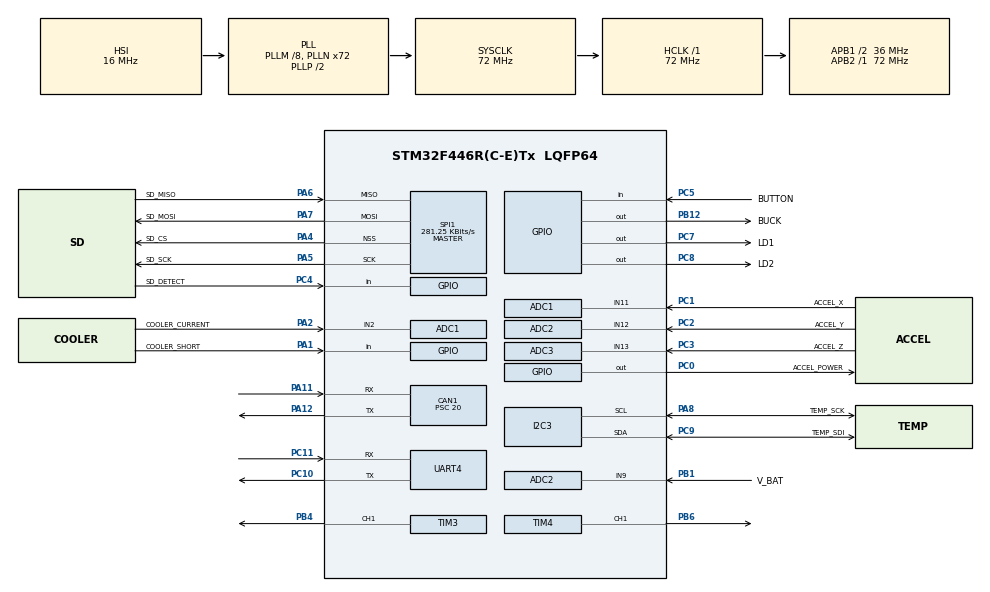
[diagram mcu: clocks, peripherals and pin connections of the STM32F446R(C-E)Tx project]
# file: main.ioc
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ADC1.Channel-0\#ChannelRegularConversion=ADC_CHANNEL_11
ADC1.Channel-2\#ChannelInjectedConversion=ADC_CHANNEL_2
ADC1.ClockPrescaler=ADC_CLOCK_SYNC_PCLK_DIV4
ADC1.ContinuousConvMode=DISABLE
ADC1.DMAContinuousRequests=ENABLE
ADC1.DiscontinuousConvMode=DISABLE
ADC1.ExternalTrigConv=ADC_EXTERNALTRIGCONV_T8_TRGO
ADC1.ExternalTrigConvEdge=ADC_EXTERNALTRIGCONVEDGE_RISINGFALLING
ADC1.ExternalTrigInjecConv=ADC_EXTERNALTRIGINJECCONV_T5_TRGO
ADC1.ExternalTrigInjecConvEdge=ADC_EXTERNALTRIGINJECCONVEDGE_RISINGFALLING
ADC1.InjNumberOfConversion=1
ADC1.InjectedConvMode=None
ADC1.InjectedOffset-2\#ChannelInjectedConversion=0
ADC1.InjectedRank-2\#ChannelInjectedConversion=1
ADC1.Mode=ADC_TRIPLEMODE_REGSIMULT_INJECSIMULT
ADC1.NbrOfConversion=1
ADC1.NbrOfConversionFlag=1
ADC1.Rank-0\#ChannelRegularConversion=1
ADC1.SamplingTime-0\#ChannelRegularConversion=ADC_SAMPLETIME_56CYCLES
ADC1.SamplingTime-2\#ChannelInjectedConversion=ADC_SAMPLETIME_56CYCLES
ADC1.ScanConvMode=DISABLE
ADC1.master=1
ADC2.Channel-0\#ChannelRegularConversion=ADC_CHANNEL_12
ADC2.Channel-2\#ChannelInjectedConversion=ADC_CHANNEL_9
ADC2.ClockPrescaler=ADC_CLOCK_SYNC_PCLK_DIV4
ADC2.ContinuousConvMode=DISABLE
ADC2.DMAAccessMode=ADC_DMAACCESSMODE_1
ADC2.DMAContinuousRequests=DISABLE
ADC2.DiscontinuousConvMode=DISABLE
ADC2.InjNumberOfConversion=1
ADC2.InjectedOffset-2\#ChannelInjectedConversion=0
ADC2.InjectedRank-2\#ChannelInjectedConversion=1
ADC2.Mode=ADC_TRIPLEMODE_REGSIMULT_INJECSIMULT
ADC2.NbrOfConversion=1
ADC2.NbrOfConversionFlag=1
ADC2.Rank-0\#ChannelRegularConversion=1
ADC2.SamplingTime-0\#ChannelRegularConversion=ADC_SAMPLETIME_56CYCLES
ADC2.SamplingTime-2\#ChannelInjectedConversion=ADC_SAMPLETIME_56CYCLES
ADC2.ScanConvMode=ENABLE
ADC3.Channel-0\#ChannelRegularConversion=ADC_CHANNEL_13
ADC3.ClockPrescaler=ADC_CLOCK_SYNC_PCLK_DIV4
ADC3.ContinuousConvMode=DISABLE
ADC3.DMAContinuousRequests=DISABLE
ADC3.InjNumberOfConversion=0
ADC3.Mode=ADC_TRIPLEMODE_REGSIMULT_INJECSIMULT
ADC3.NbrOfConversionFlag=1
ADC3.Rank-0\#ChannelRegularConversion=1
ADC3.SamplingTime-0\#ChannelRegularConversion=ADC_SAMPLETIME_56CYCLES
CAN1.BS1=CAN_BS1_9TQ
CAN1.BS2=CAN_BS2_8TQ
CAN1.CalculateBaudRate=100000
CAN1.CalculateTimeBit=10000
CAN1.CalculateTimeQuantum=555.5555555555555
CAN1.Mode=CAN_MODE_NORMAL
CAN1.Prescaler=20
Dma.ADC1.0.Direction=DMA_PERIPH_TO_MEMORY
Dma.ADC1.0.FIFOMode=DMA_FIFOMODE_DISABLE
Dma.ADC1.0.Instance=DMA2_Stream0
Dma.ADC1.0.MemDataAlignment=DMA_MDATAALIGN_HALFWORD
Dma.ADC1.0.MemInc=DMA_MINC_ENABLE
Dma.ADC1.0.Mode=DMA_CIRCULAR
Dma.ADC1.0.PeriphDataAlignment=DMA_PDATAALIGN_HALFWORD
Dma.ADC1.0.PeriphInc=DMA_PINC_DISABLE
Dma.ADC1.0.Priority=DMA_PRIORITY_LOW
Dma.Request0=ADC1
Mcu.Family=STM32F4
Mcu.Name=STM32F446R(C-E)Tx
Mcu.Package=LQFP64
NVIC.CAN1_RX0_IRQn=true\:0\:0\:false\:false\:true\:true\:true\:true
NVIC.DMA2_Stream0_IRQn=true\:0\:0\:false\:false\:true\:false\:true\:true
NVIC.PriorityGroup=NVIC_PRIORITYGROUP_0
NVIC.TIM1_BRK_TIM9_IRQn=true\:0\:0\:false\:false\:true\:true\:true\:true
NVIC.TIM2_IRQn=true\:0\:0\:false\:false\:true\:true\:true\:true
NVIC.TIM5_IRQn=true\:0\:0\:false\:false\:true\:true\:true\:true
NVIC.TIM8_BRK_TIM12_IRQn=true\:0\:0\:false\:false\:true\:true\:true\:true
PA1.GPIO_Label=COOLER_SHORT
PA1.Signal=GPIO_Input
PA11.Mode=CAN_Activate
PA11.Signal=CAN1_RX
PA12.Mode=CAN_Activate
PA12.Signal=CAN1_TX
PA13.GPIO_Label=SWD_IO
PA13.Mode=Serial_Wire
PA13.Signal=SYS_JTMS-SWDIO
PA14.GPIO_Label=SWD_CLK
PA14.Mode=Serial_Wire
PA14.Signal=SYS_JTCK-SWCLK
PA2.GPIO_Label=COOLER_CURRENT
PA2.Signal=ADCx_IN2
PA4.GPIO_Label=SD_CS
PA4.GPIO_PuPd=GPIO_PULLUP
PA4.Mode=NSS_Signal_Hard_Output
PA4.Signal=SPI1_NSS
PA5.GPIO_Label=SD_SCK
PA5.GPIO_PuPd=GPIO_PULLUP
PA5.Mode=Full_Duplex_Master
PA5.Signal=SPI1_SCK
PA6.GPIO_Label=SD_MISO
PA6.GPIO_PuPd=GPIO_PULLUP
PA6.Mode=Full_Duplex_Master
PA6.Signal=SPI1_MISO
PA7.GPIO_Label=SD_MOSI
PA7.GPIO_PuPd=GPIO_PULLUP
PA7.Mode=Full_Duplex_Master
PA7.Signal=SPI1_MOSI
PA8.GPIO_Label=TEMP_SCK
PA8.Mode=I2C
PA8.Signal=I2C3_SCL
PB1.GPIO_Label=V_BAT
PB1.Signal=ADCx_IN9
PB12.GPIO_Label=BUCK
PB12.Signal=GPIO_Output
PB3.GPIO_Label=SWD_O
PB3.Signal=SYS_JTDO-SWO
PB4.Signal=S_TIM3_CH1
PB6.Signal=S_TIM4_CH1
PC0.GPIO_Label=ACCEL_POWER
PC0.PinState=GPIO_PIN_RESET
PC0.Signal=GPIO_Output
PC1.GPIO_Label=ACCEL_X
PC1.Signal=ADCx_IN11
PC10.Mode=Asynchronous
PC10.Signal=UART4_TX
PC11.Mode=Asynchronous
PC11.Signal=UART4_RX
PC2.GPIO_Label=ACCEL_Y
PC2.Signal=ADCx_IN12
PC3.GPIO_Label=ACCEL_Z
PC3.Signal=ADCx_IN13
PC4.GPIO_Label=SD_DETECT
PC4.Signal=GPIO_Input
PC5.GPIO_Label=BUTTON
PC5.Signal=GPIO_Input
PC7.GPIO_Label=LD1
PC7.Signal=GPIO_Output
PC8.GPIO_Label=LD2
PC8.Signal=GPIO_Output
PC9.GPIO_Label=TEMP_SDI
PC9.Mode=I2C
PC9.Signal=I2C3_SDA
ProjectManager.HeapSize=0x200
ProjectManager.StackSize=0x400
ProjectManager.TargetToolchain=STM32CubeIDE
RCC.AHBFreq_Value=72000000
RCC.APB1CLKDivider=RCC_HCLK_DIV2
RCC.APB1Freq_Value=36000000
RCC.APB1TimFreq_Value=72000000
RCC.APB2Freq_Value=72000000
RCC.APB2TimFreq_Value=72000000
RCC.CortexFreq_Value=72000000
RCC.FLatency-AdvancedSettings=FLASH_LATENCY_2
RCC.HCLKFreq_Value=72000000
RCC.HSE_VALUE=8000000
RCC.HSI_VALUE=16000000
RCC.LSE_VALUE=32768
RCC.PLLM=8
RCC.PLLN=72
RCC.SYSCLKFreq_VALUE=72000000
RCC.SYSCLKSource=RCC_SYSCLKSOURCE_PLLCLK
RCC.USBFreq_Value=72000000
RCC.VCOOutputFreq_Value=144000000
SH.ADCx_IN11.0=ADC1_IN11,IN11
SH.ADCx_IN12.0=ADC2_IN12,IN12
SH.ADCx_IN13.0=ADC3_IN13,IN13
SH.ADCx_IN2.0=ADC1_IN2,IN2
SH.ADCx_IN9.0=ADC2_IN9,IN9
SH.S_TIM3_CH1.0=TIM3_CH1,PWM Generation1 CH1
SH.S_TIM4_CH1.0=TIM4_CH1,PWM Generation1 CH1
SPI1.BaudRatePrescaler=SPI_BAUDRATEPRESCALER_256
SPI1.CalculateBaudRate=281.25 KBits/s
SPI1.Direction=SPI_DIRECTION_2LINES
SPI1.Mode=SPI_MODE_MASTER
SPI1.VirtualNSS=VM_NSSHARD
SPI1.VirtualType=VM_MASTER
TIM12.Period=4000-1
TIM12.Prescaler=7200-1
TIM2.Period=10000-1
TIM2.Prescaler=7200-1
TIM3.Channel-PWM\ Generation1\ CH1=TIM_CHANNEL_1
TIM3.Period=1440
TIM3.Prescaler=4
TIM4.Channel-PWM\ Generation1\ CH1=TIM_CHANNEL_1
TIM4.Period=1440
TIM4.Prescaler=4
TIM5.Period=5000-1
TIM5.Prescaler=7200-1
TIM5.TIM_MasterOutputTrigger=TIM_TRGO_UPDATE
TIM8.Period=100-1
TIM8.Prescaler=72-1
TIM8.TIM_MasterOutputTrigger=TIM_TRGO_UPDATE
TIM9.Period=1000-1
TIM9.Prescaler=7200-1
UART4.VirtualMode=Asynchronous
VP_FATFS_VS_Generic.Mode=User_defined
VP_TIM12_VS_ClockSourceINT.Mode=Internal
VP_TIM2_VS_ClockSourceINT.Mode=Internal
VP_TIM5_VS_ClockSourceINT.Mode=Internal
VP_TIM8_VS_ClockSourceINT.Mode=Internal
VP_TIM9_VS_ClockSourceINT.Mode=Internal
board=NUCLEO-F446RE

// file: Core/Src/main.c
/* USER CODE BEGIN Header */
/**
 ******************************************************************************
 * @file           : main.c
 * @brief          : Main program body
 ******************************************************************************
 * @attention
 *
 * Copyright (c) 2024 STMicroelectronics.
 * All rights reserved.
 *
 * This software is licensed under terms that can be found in the LICENSE file
 * in the root directory of this software component.
 * If no LICENSE file comes with this software, it is provided AS-IS.
 *
 ******************************************************************************
 */
/* USER CODE END Header */
#include "main.h"
#include "fatfs.h"

/* USER CODE BEGIN Includes */
#include <math.h>
#include <stdbool.h>
#include <string.h>
#include "enabled.h"
#include "accelerometer.h"
#include "ADC.h"
#include "blink.h"
#include "BME280.h"
#include "CAN_bus.h"
#include "peltier.h"
#include "pid.h"
#include "SD_card.h"
#include "serial_monitor.h"
#include "temperature.h"
/* USER CODE END Includes */

/* USER CODE BEGIN PD */
// Timer purpose aliases
#define TIM_TEMPERATURE_SAMPLE htim2
#define TIM_PELTIER_REFERENCE htim3
#define TIM_PELTIER_PWM htim4
#define TIM_ADC_SAMPLE htim5
#define TIM_ACCELEROMETER_SAMPLE htim8
#define TIM_BLINK htim9
#define TIM_TELEMETRY htim12
// CAN conversion constants
#define TEMPERATURE_FACTOR 100           // Send temperature in centiCelsius to take advantage of the precision
#define BATTERY_VOLTAGE_SEND_MIN 10.0f   // Volts
#define BATTERY_VOLTAGE_SEND_MAX 21.0f   // Volts
#define BATTERY_VOLTAGE_SEND_FACTOR 256  // 2^8 is the maximum value for a uint8
#define VIBRATION_AMPLITUDE_FACTOR 10000 // Send amplitude in mV * 10 to take advantage of the precision
// PID constants
#define K_P 0.0f           // Proportional gain constant
#define K_I 0.0f           // Integral gain constant
#define K_D 0.0f           // Derivative gain constant
#define K_AW 0.0f          // Anti-windup gain constant
#define TIME_CONST 0.0f    // Time constant for derivative filtering
#define PID_MAX 1.0f       // Max command
#define PID_MIN 0.0f       // Min command
#define PID_MAX_DERIV 0.0f // Max rate of change of command
// Error handling constants
#define MINOR_ERRORS_MAX 128
#define MINOR_ERROR_BLINK_TIME 100 // milliseconds
// Other
#define PELTIER_START_CYCLE 0.0f
#define COOLING_STOP_VOLTAGE 13.9 // volts
#define TEMPERATURE_CONTROL_ENABLED (temperature_control_allowed && temperature_control_enabled)
/* USER CODE END PD */

/* USER CODE BEGIN PM */
#define BOOL_TO_ON(b) (b ? "on" : "off")
/* USER CODE END PM */

ADC_HandleTypeDef hadc1;
ADC_HandleTypeDef hadc2;
ADC_HandleTypeDef hadc3;
DMA_HandleTypeDef hdma_adc1;

CAN_HandleTypeDef hcan1;

I2C_HandleTypeDef hi2c3;

SPI_HandleTypeDef hspi1;

TIM_HandleTypeDef htim2;
TIM_HandleTypeDef htim3;
TIM_HandleTypeDef htim4;
TIM_HandleTypeDef htim5;
TIM_HandleTypeDef htim8;
TIM_HandleTypeDef htim9;
TIM_HandleTypeDef htim12;

UART_HandleTypeDef huart4;

/* USER CODE BEGIN PV */
/* PL peripheral driver handlers ---------------------------------------------*/
PL_Accelerometer_Handler accelerometer;
PL_ADC_Handler adc;
PL_Blink_Handler blink;
PL_CANBus_Handler can;
PL_Peltier_Handler peltier;
PL_SDCard_Handler sd_card;
// PID controller struct
struct PID pid;

// Accelerometer buffer which DMA will write to. Needs to be shared a bit, so declared in main.
volatile uint16_t accelerometer_buffer[ACCELEROMETER_SAMPLE_SIZE_TRIPLE];

/* Global telemetry variables ------------------------------------------------*/
// BME280 variables
float temperature, pressure, humidity;
// Error Handling variables
bool ok;
uint8_t minor_errors;
uint32_t minor_error_last_time;
// ADC variables
float battery_voltage, cooler_current;
// FFT variables
float peak_amp_x, peak_amp_y, peak_amp_z;
float peak_freq_x, peak_freq_y, peak_freq_z;

// Temperature control
float target_temperature;
bool temperature_control_allowed;
bool temperature_control_enabled;

// Flags for actions triggered by interrupts
volatile bool adc_new_sample_ready,
    BME280_sample_ready,
    blink_toggle_ready,
    minor_error_blink_toggle_ready,
    telemetry_report_ready;
volatile uint32_t accelerometer_sample_time;
/* USER CODE END PV */

void SystemClock_Config(void);
static void MX_GPIO_Init(void);
static void MX_DMA_Init(void);
static void MX_ADC1_Init(void);
static void MX_ADC2_Init(void);
static void MX_ADC3_Init(void);
static void MX_CAN1_Init(void);
static void MX_TIM3_Init(void);
static void MX_TIM4_Init(void);
static void MX_I2C3_Init(void);
static void MX_UART4_Init(void);
static void MX_TIM5_Init(void);
static void MX_TIM9_Init(void);
static void MX_SPI1_Init(void);
static void MX_TIM2_Init(void);
static void MX_TIM8_Init(void);
static void MX_TIM12_Init(void);
/* USER CODE BEGIN PFP */
/**
 * @brief Signals a critical error. Flags Payload as not ok, permanently turns on LD2.
 * Calls `Error_Handler` if not in final build.
 * @note Critical errors occur if peripheral initialization fails, or in other similar instances.
 * @param category The category in which the critical error occurred.
 * @param msg A description of the critical error.
 */
void Critical_Error(enum log_category category, const char *msg);
/**
 * @brief Signals a minor error. Briefly blinks LD2. Keeps track of number of minor errors,
 * and triggers `Critical_Error` if it exceeds `MINOR_ERRORS_MAX`.
 * @note Critical errors occur on single failures
 * (i.e. one failed CAN message send or one failed peripheral sample).
 * @param category The category in which the minor error occurred.
 * @param msg A description of the minor error.
 */
void Minor_Error(enum log_category category, const char *msg);
/* USER CODE END PFP */

int main(void)
{

  /* MCU Configuration--------------------------------------------------------*/

  /* Reset of all peripherals, Initializes the Flash interface and the Systick. */
  HAL_Init();

  /* Configure the system clock */
  SystemClock_Config();

  /* Initialize all configured peripherals */
  MX_GPIO_Init();
  MX_DMA_Init();
  MX_ADC1_Init();
  MX_ADC2_Init();
  MX_ADC3_Init();
  MX_CAN1_Init();
  MX_TIM3_Init();
  MX_TIM4_Init();
  MX_I2C3_Init();
  MX_UART4_Init();
  MX_TIM5_Init();
  MX_TIM9_Init();
  MX_SPI1_Init();
  MX_FATFS_Init();
  MX_TIM2_Init();
  MX_TIM8_Init();
  MX_TIM12_Init();
  /* USER CODE BEGIN 2 */
  PL_Log(LOG_GENERAL, LOG_NONE, LOG_INITIALIZING, "Initializing...");

  // Initialize error handling variables
  ok = 1;
  minor_errors = 0;
  minor_error_last_time = 0;
  minor_error_blink_toggle_ready = false;

  // Initialize temperature control variables
  target_temperature = TEMPERATURES[0]; // default to coldest temperature
  temperature_control_allowed = true;   // default to cooling being on
  temperature_control_enabled = true;

  // Initialize PID struct
  pid.Kp = K_P;
  pid.Ki = K_I;
  pid.Kd = K_D;
  pid.Kaw = K_AW;
  pid.T_C = TIME_CONST;
  pid.max = PID_MAX;
  pid.min = PID_MIN;
  pid.max_rate = PID_MAX_DERIV;

  // Initialize and start CAN bus
  PL_Log(LOG_CAN_BUS, LOG_NONE, LOG_INITIALIZING, "Starting...");
  if (!PL_CANBus_Init(&can, &hcan1))
  {
    Critical_Error(LOG_CAN_BUS, "Initialization failed.");
  }
  PL_Log(LOG_CAN_BUS, LOG_NONE, LOG_OK, "Started.");

  // Initialize BME280 temperature sensor
  PL_Log(LOG_TEMPERATURE_SENSOR, LOG_NONE, LOG_INITIALIZING, "Starting...");
  PL_Log(LOG_TEMPERATURE_SENSOR, LOG_NONE, LOG_INITIALIZING, "Configuring BME280...");
  if (BME280_Config(OSRS_2, OSRS_16, OSRS_1, MODE_NORMAL, T_SB_0p5, IIR_16) != 0)
  {
    Critical_Error(LOG_TEMPERATURE_SENSOR, "BME280 configuration failed.");
  }
  PL_Log(LOG_TEMPERATURE_SENSOR, LOG_NONE, LOG_INITIALIZING, "Starting sample timer...");
  // Start temperature sample timer
  if (HAL_TIM_Base_Start_IT(&TIM_TEMPERATURE_SAMPLE) != HAL_OK)
  {
    Critical_Error(LOG_TEMPERATURE_SENSOR, "Sample timer start failed.");
  }
  // Initialize BME280 sample as ready to sample first time through main loop
  BME280_sample_ready = true;
  PL_Log(LOG_TEMPERATURE_SENSOR, LOG_NONE, LOG_OK, "Started.");

  // Initialize Peltier cooler PWM output
  PL_Log(LOG_PELTIER, LOG_NONE, LOG_INITIALIZING, "Initializing PWM output...");
  if (!PL_Peltier_Init(&peltier, &TIM_PELTIER_PWM, &TIM_PELTIER_REFERENCE, TIM_CHANNEL_1, TIM_CHANNEL_1))
  {
    Critical_Error(LOG_PELTIER, "PWM initialization failed");
  }
  // Start duty cycle at zero
  PL_Peltier_SetCycle(&peltier, PELTIER_START_CYCLE);
  PL_Log(LOG_PELTIER, LOG_NONE, LOG_OK, "Started with %d%% duty cycle.", (int)(PELTIER_START_CYCLE * 100));

  // Initialize ADCs
  PL_Log(LOG_ADC, LOG_NONE, LOG_INITIALIZING, "Starting...");
  if (!PL_ADC_Init(&adc, &hadc1, &hadc2, &hadc3, &TIM_ADC_SAMPLE, accelerometer_buffer))
  {
    Critical_Error(LOG_ADC, "Initialization failed.");
  }
  PL_Log(LOG_ADC, LOG_NONE, LOG_OK, "Started.");

  // Initialize and start accelerometer
  PL_Log(LOG_ACCELEROMETER, LOG_NONE, LOG_INITIALIZING, "Starting...");
  // Initialize accelerometer handler
  PL_Log(LOG_ACCELEROMETER, LOG_NONE, LOG_INITIALIZING, "Initializing handler...");
  if (!PL_Accelerometer_Init(&accelerometer, &TIM_ACCELEROMETER_SAMPLE, ACCEL_POWER_GPIO_Port, ACCEL_POWER_Pin))
  {
    Critical_Error(LOG_ACCELEROMETER, "Initialization failed.");
  }
  PL_Log(LOG_ACCELEROMETER, LOG_NONE, LOG_INITIALIZING, "Powering on accelerometer and starting sampling...");
  // Start the accelerometer
  if (!PL_Accelerometer_Start(&accelerometer))
  {
    Critical_Error(LOG_ACCELEROMETER, "Accelerometer start failed.");
  }
  PL_Log(LOG_ACCELEROMETER, LOG_NONE, LOG_OK, "Started.");

  // Initialize SD card
  PL_Log(LOG_SD_CARD, LOG_NONE, LOG_INITIALIZING, "Starting...");
  // Initialize SD card handler and mount file system
  PL_Log(LOG_SD_CARD, LOG_NONE, LOG_INITIALIZING, "Initializing and mounting...");
  if (!PL_SDCard_Init(&sd_card))
  {
    Critical_Error(LOG_SD_CARD, "Initialization/mount failed.");
  }
  // Open next log file on SD card
  PL_Log(LOG_SD_CARD, LOG_NONE, LOG_INITIALIZING, "Opening next log file...");
  if (!PL_SDCard_Open(&sd_card))
  {
    Critical_Error(LOG_SD_CARD, "Opening log file failed.");
  }
  PL_Log(LOG_SD_CARD, LOG_NONE, LOG_OK, "Started.");

  // Start the telemetry report timer
  PL_Log(LOG_GENERAL, LOG_NONE, LOG_INITIALIZING, "Starting telemetry report timer.");
  if (HAL_TIM_Base_Start_IT(&TIM_TELEMETRY) != HAL_OK)
  {
    Critical_Error(LOG_GENERAL, "Telemetry report timer start failed.");
  }
  // Initialize telemetry report as ready to send telemetry data first time through main loop
  telemetry_report_ready = true;
  PL_Log(LOG_GENERAL, LOG_NONE, LOG_OK, "Telemetry report timer started.");

  // Initialize blink driver handler
  PL_Log(LOG_BLINK, LOG_NONE, LOG_INITIALIZING, "Starting...");
  PL_Blink_Init(&blink, &TIM_BLINK, LD1_GPIO_Port, LD1_Pin);
  // Start blinking routine
  if (!PL_Blink_Start(&blink))
  {
    Critical_Error(LOG_BLINK, "Start error");
  }
  // Initialize blink as ready to turn LED on first time through main loop
  blink_toggle_ready = true;
  PL_Log(LOG_BLINK, LOG_NONE, LOG_OK, "Started.");
  /* USER CODE END 2 */

  /* Infinite loop */
  /* USER CODE BEGIN WHILE */
  PL_Log(LOG_GENERAL, LOG_NONE, LOG_OK, "Beginning main loop.");
  while (1)
  {
    /* Gather data before communication functions --------------------------------*/
    if (adc_new_sample_ready)
    {
      // Calculate values from ADC reading
      battery_voltage = PL_ADC_GetBatteryVoltage(&adc);
      cooler_current = PL_ADC_GetCoolerCurrent(&adc);

      PL_Log(LOG_ADC, LOG_NONE, LOG_OK, "Battery Voltage: %7d mV | Cooler Current: %5d mA",
             (int)(1000 * battery_voltage),
             (int)(1000 * cooler_current));

      adc_new_sample_ready = false;

      if (PL_ADC_GetBatteryVoltage(&adc) < COOLING_STOP_VOLTAGE)
      {
        PL_Peltier_SetCycle(&peltier, 0.0f);
        temperature_control_allowed = false;
      }
      else
      {
        temperature_control_allowed = true;
      }
    }

    if (BME280_sample_ready)
    {
      BME280_Measure();
      PL_Log(LOG_TEMPERATURE_SENSOR, LOG_NONE, LOG_OK,
             "Temperature: %3d C | Pressure: %7d Pa | Humidity: %3d%%",
             (int)temperature,
             (int)pressure,
             (int)humidity);
      BME280_sample_ready = false;
    }

    // Step PID controller
    float peltier_cycle;
    if (TEMPERATURE_CONTROL_ENABLED)
    {
      // Calculate Peltier duty cycle using PID controller
      peltier_cycle = PID_step(&pid, temperature, target_temperature, HAL_GetTick());
      peltier_cycle = 1.0f;
    }
    else
    {
      peltier_cycle = 0.0f;
    }
    PL_Peltier_SetCycle(&peltier, peltier_cycle);
    PL_Log(LOG_PELTIER, LOG_NONE, LOG_OK,
           "Peltier duty cycle set to %d%%.",
           (int)(100 * peltier_cycle));

    /* Communicate with the outside world and other devices ----------------------*/
    if (accelerometer.analysis_ready)
    {
      // Write new accelerometer data to the SD card
      if (!PL_SDCard_WriteAccelerometer(&sd_card,
                                        accelerometer_sample_time,
                                        (uint16_t *)accelerometer.fft_buffer_x,
                                        (uint16_t *)accelerometer.fft_buffer_y,
                                        (uint16_t *)accelerometer.fft_buffer_z))
      {
        Minor_Error(LOG_SD_CARD, "Accelerometer packet write failed.");
      }
      else
      {
        PL_Log(LOG_SD_CARD, LOG_ACCELEROMETER, LOG_OK, "Wrote accelerometer packet.");
      }

      // Perform FFT analysis (stored in amplitude buffers)
      PL_Accelerometer_Analyze(&accelerometer);
      // Find peak amplitudes and frequencies on each axis
      peak_freq_x = PL_Accelerometer_PeakFrequency(accelerometer.amplitudes_x, &peak_amp_x);
      peak_freq_y = PL_Accelerometer_PeakFrequency(accelerometer.amplitudes_y, &peak_amp_y);
      peak_freq_z = PL_Accelerometer_PeakFrequency(accelerometer.amplitudes_z, &peak_amp_z);

      PL_Log(LOG_ACCELEROMETER, LOG_NONE, LOG_OK,
             "Peak Frequency X: %5d Hz | Peak Amplitude X: %5d mV",
             (int)peak_freq_x,
             (int)(1000 * peak_amp_x));
      PL_Log(LOG_ACCELEROMETER, LOG_NONE, LOG_OK,
             "Peak Frequency Y: %5d Hz | Peak Amplitude Y: %5d mV",
             (int)peak_freq_y,
             (int)(1000 * peak_amp_y));
      PL_Log(LOG_ACCELEROMETER, LOG_NONE, LOG_OK,
             "Peak Frequency Z: %5d Hz | Peak Amplitude Z: %5d mV",
             (int)peak_freq_z,
             (int)(1000 * peak_amp_z));
    }

    if (can.command_ready)
    {
      struct command com = PL_CANBus_ParseCommand(&can);
      switch (com.type)
      {
      case RESET_PAYLOAD:
        PL_Log(LOG_CAN_BUS, LOG_GENERAL, LOG_OK, "Payload reset.");
        // Reset STM32 via toggling buck reset
        HAL_GPIO_TogglePin(BUCK_GPIO_Port, BUCK_Pin);
        // Wait a short delay to ensure signal stabilizes
        HAL_Delay(10);
        // Toggle again to provide both rising and falling edges (we're not sure which one is necessary)
        HAL_GPIO_TogglePin(BUCK_GPIO_Port, BUCK_Pin);
        break;
      case TOGGLE_SAMPLING:
        // Call proper accelerometer function depending on toggle parameter, then check return type
        if (!(com.data.on
                  ? PL_Accelerometer_Start(&accelerometer)
                  : PL_Accelerometer_Stop(&accelerometer)))
        {
          // Format error message since `Minor_Error` isn't variadic
          char msg[64];
          snprintf(msg, sizeof(msg), "Switching accelerometer to %s failed.", BOOL_TO_ON(com.data.on));
          Minor_Error(LOG_CAN_BUS, msg);
        }
        else
        {
          PL_Log(LOG_CAN_BUS, LOG_ACCELEROMETER, LOG_OK,
                 "Accelerometer switched to %s.", BOOL_TO_ON(com.data.on));
        }
        break;
      case TOGGLE_COOLER:
        temperature_control_enabled = com.data.on;
        // Log command receipt
        PL_Log(LOG_CAN_BUS, LOG_PELTIER, LOG_OK,
               "Temperature control switched to %s.", BOOL_TO_ON(com.data.on));
        break;
      case TOGGLE_LAUNCH_MODE:
        // Launch mode doesn't do anything since we don't need it anymore
        PL_Log(LOG_CAN_BUS, LOG_GENERAL, LOG_OK, "Launch mode switched to %s.", BOOL_TO_ON(com.data.on));
        break;
      case LANDED:
        PL_Log(LOG_CAN_BUS, LOG_GENERAL, LOG_OK, "Landed.");
        if (!PL_Accelerometer_Stop(&accelerometer))
        {
          Minor_Error(LOG_ACCELEROMETER,
                      "Failed to shut down and stop sampling accelerometers on landing.");
        }
        else
        {
          PL_Log(LOG_ACCELEROMETER, LOG_CAN_BUS, LOG_OK,
                 "Powered off and stopped sampling accelerometers on landing.");
        }
        if (!PL_Blink_Stop(&blink))
        {
          Minor_Error(LOG_BLINK, "Failed to stop blinking on landing.");
        }
        else
        {
          PL_Log(LOG_BLINK, LOG_CAN_BUS, LOG_OK, "Stopped blinking on landing.");
        }
        break;
      case SET_TEMPERATURE:
        target_temperature = com.data.temp;
        PL_Log(LOG_CAN_BUS, LOG_TEMPERATURE_SENSOR | LOG_PELTIER, LOG_OK,
               "Target temperature set to %d.", (int)target_temperature);
        break;
      case NONE:
        PL_Log(LOG_CAN_BUS, LOG_NONE, LOG_WARNING, "No command received.");
        break;
      case INVALID:
        Minor_Error(LOG_CAN_BUS, "Invalid command received.");
        break;
      }
    }

    if (telemetry_report_ready)
    {
      if (!PL_SDCard_WriteTelemetry(&sd_card,
                                    HAL_GetTick(),
                                    ok,
                                    accelerometer.sampling,
                                    TEMPERATURE_CONTROL_ENABLED,
                                    target_temperature,
                                    temperature,
                                    pressure,
                                    humidity,
                                    battery_voltage))
      {
        Minor_Error(LOG_SD_CARD, "Telemetry packet write error.");
      }
      else
      {
        PL_Log(LOG_SD_CARD, LOG_NONE, LOG_OK, "Wrote telemetry packet.");
      }

      // Determine target temperature
      uint8_t target_temperature_index = 0;
      for (int i = 0; i < N_TEMPERATURES; i++)
      {
        if (target_temperature == TEMPERATURES[i])
        {
          target_temperature_index = i;
        }
      }
      // Send CAN message
      if (!PL_CANBus_Send(&can,
                          ok,
                          accelerometer.sampling,
                          TEMPERATURE_CONTROL_ENABLED,
                          target_temperature_index,
                          // Multiply temperature to take advantage of the precision
                          (int16_t)roundf(temperature * TEMPERATURE_FACTOR),
                          // Compress battery voltage into uint8 to take advantage of the precision
                          (uint8_t)roundf(
                              BATTERY_VOLTAGE_SEND_FACTOR *
                              (battery_voltage - BATTERY_VOLTAGE_SEND_MIN) /
                              (BATTERY_VOLTAGE_SEND_MAX - BATTERY_VOLTAGE_SEND_MIN)),
                          // Round to nearest Hz
                          (uint16_t)roundf(peak_freq_x),
                          (uint16_t)roundf(peak_freq_y),
                          (uint16_t)roundf(peak_freq_z),
                          // Multiply amplitudes to take advantage of the precision
                          (uint16_t)roundf(peak_amp_x * VIBRATION_AMPLITUDE_FACTOR),
                          (uint16_t)roundf(peak_amp_y * VIBRATION_AMPLITUDE_FACTOR),
                          (uint16_t)roundf(peak_amp_z * VIBRATION_AMPLITUDE_FACTOR),
                          HAL_GetTick()))
      {
        Minor_Error(LOG_CAN_BUS, "Failed to send set of three messages.");
      }
      else
      {
        PL_Log(LOG_CAN_BUS, LOG_NONE, LOG_OK, "Set of three messages sent.");
      }

      telemetry_report_ready = false;
    }

    if (blink_toggle_ready)
    {
      // Only log if the light was actually blinked
      if (PL_Blink_Toggle(&blink))
      {
        PL_Log(LOG_BLINK, LOG_NONE, LOG_OK, "Blinked.");
      }
      blink_toggle_ready = false;
    }

    if (minor_error_blink_toggle_ready && HAL_GetTick() - minor_error_last_time >= MINOR_ERROR_BLINK_TIME)
    {
      HAL_GPIO_WritePin(LD2_GPIO_Port, LD2_Pin, GPIO_PIN_RESET);
      minor_error_blink_toggle_ready = false; // Reset blink ready flag
    }
    /* USER CODE END WHILE */

  }
}

void SystemClock_Config(void)
{
  RCC_OscInitTypeDef RCC_OscInitStruct = {0};
  RCC_ClkInitTypeDef RCC_ClkInitStruct = {0};

  /** Configure the main internal regulator output voltage
   */
  __HAL_RCC_PWR_CLK_ENABLE();
  __HAL_PWR_VOLTAGESCALING_CONFIG(PWR_REGULATOR_VOLTAGE_SCALE3);

  /** Initializes the RCC Oscillators according to the specified parameters
   * in the RCC_OscInitTypeDef structure.
   */
  RCC_OscInitStruct.OscillatorType = RCC_OSCILLATORTYPE_HSI;
  RCC_OscInitStruct.HSIState = RCC_HSI_ON;
  RCC_OscInitStruct.HSICalibrationValue = RCC_HSICALIBRATION_DEFAULT;
  RCC_OscInitStruct.PLL.PLLState = RCC_PLL_ON;
  RCC_OscInitStruct.PLL.PLLSource = RCC_PLLSOURCE_HSI;
  RCC_OscInitStruct.PLL.PLLM = 8;
  RCC_OscInitStruct.PLL.PLLN = 72;
  RCC_OscInitStruct.PLL.PLLP = RCC_PLLP_DIV2;
  RCC_OscInitStruct.PLL.PLLQ = 2;
  RCC_OscInitStruct.PLL.PLLR = 2;
  if (HAL_RCC_OscConfig(&RCC_OscInitStruct) != HAL_OK)
  {
    Error_Handler();
  }

  /** Initializes the CPU, AHB and APB buses clocks
   */
  RCC_ClkInitStruct.ClockType = RCC_CLOCKTYPE_HCLK | RCC_CLOCKTYPE_SYSCLK | RCC_CLOCKTYPE_PCLK1 | RCC_CLOCKTYPE_PCLK2;
  RCC_ClkInitStruct.SYSCLKSource = RCC_SYSCLKSOURCE_PLLCLK;
  RCC_ClkInitStruct.AHBCLKDivider = RCC_SYSCLK_DIV1;
  RCC_ClkInitStruct.APB1CLKDivider = RCC_HCLK_DIV2;
  RCC_ClkInitStruct.APB2CLKDivider = RCC_HCLK_DIV1;

  if (HAL_RCC_ClockConfig(&RCC_ClkInitStruct, FLASH_LATENCY_2) != HAL_OK)
  {
    Error_Handler();
  }
}

static void MX_ADC1_Init(void)
{

  ADC_MultiModeTypeDef multimode = {0};
  ADC_ChannelConfTypeDef sConfig = {0};
  ADC_InjectionConfTypeDef sConfigInjected = {0};

  /** Configure the global features of the ADC (Clock, Resolution, Data Alignment and number of conversion)
   */
  hadc1.Instance = ADC1;
  hadc1.Init.ClockPrescaler = ADC_CLOCK_SYNC_PCLK_DIV4;
  hadc1.Init.Resolution = ADC_RESOLUTION_12B;
  hadc1.Init.ScanConvMode = DISABLE;
  hadc1.Init.ContinuousConvMode = DISABLE;
  hadc1.Init.DiscontinuousConvMode = DISABLE;
  hadc1.Init.ExternalTrigConvEdge = ADC_EXTERNALTRIGCONVEDGE_RISINGFALLING;
  hadc1.Init.ExternalTrigConv = ADC_EXTERNALTRIGCONV_T8_TRGO;
  hadc1.Init.DataAlign = ADC_DATAALIGN_RIGHT;
  hadc1.Init.NbrOfConversion = 1;
  hadc1.Init.DMAContinuousRequests = ENABLE;
  hadc1.Init.EOCSelection = ADC_EOC_SINGLE_CONV;
  if (HAL_ADC_Init(&hadc1) != HAL_OK)
  {
    Error_Handler();
  }

  /** Configure the ADC multi-mode
   */
  multimode.Mode = ADC_TRIPLEMODE_REGSIMULT_INJECSIMULT;
  multimode.DMAAccessMode = ADC_DMAACCESSMODE_1;
  multimode.TwoSamplingDelay = ADC_TWOSAMPLINGDELAY_5CYCLES;
  if (HAL_ADCEx_MultiModeConfigChannel(&hadc1, &multimode) != HAL_OK)
  {
    Error_Handler();
  }

  /** Configure for the selected ADC regular channel its corresponding rank in the sequencer and its sample time.
   */
  sConfig.Channel = ADC_CHANNEL_11;
  sConfig.Rank = 1;
  sConfig.SamplingTime = ADC_SAMPLETIME_56CYCLES;
  if (HAL_ADC_ConfigChannel(&hadc1, &sConfig) != HAL_OK)
  {
    Error_Handler();
  }

  /** Configures for the selected ADC injected channel its corresponding rank in the sequencer and its sample time
   */
  sConfigInjected.InjectedChannel = ADC_CHANNEL_2;
  sConfigInjected.InjectedRank = 1;
  sConfigInjected.InjectedNbrOfConversion = 1;
  sConfigInjected.InjectedSamplingTime = ADC_SAMPLETIME_56CYCLES;
  sConfigInjected.ExternalTrigInjecConvEdge = ADC_EXTERNALTRIGINJECCONVEDGE_RISINGFALLING;
  sConfigInjected.ExternalTrigInjecConv = ADC_EXTERNALTRIGINJECCONV_T5_TRGO;
  sConfigInjected.AutoInjectedConv = DISABLE;
  sConfigInjected.InjectedDiscontinuousConvMode = DISABLE;
  sConfigInjected.InjectedOffset = 0;
  if (HAL_ADCEx_InjectedConfigChannel(&hadc1, &sConfigInjected) != HAL_OK)
  {
    Error_Handler();
  }
}

static void MX_ADC2_Init(void)
{

  ADC_ChannelConfTypeDef sConfig = {0};
  ADC_InjectionConfTypeDef sConfigInjected = {0};

  /** Configure the global features of the ADC (Clock, Resolution, Data Alignment and number of conversion)
   */
  hadc2.Instance = ADC2;
  hadc2.Init.ClockPrescaler = ADC_CLOCK_SYNC_PCLK_DIV4;
  hadc2.Init.Resolution = ADC_RESOLUTION_12B;
  hadc2.Init.ScanConvMode = ENABLE;
  hadc2.Init.ContinuousConvMode = DISABLE;
  hadc2.Init.DiscontinuousConvMode = DISABLE;
  hadc2.Init.DataAlign = ADC_DATAALIGN_RIGHT;
  hadc2.Init.NbrOfConversion = 1;
  hadc2.Init.DMAContinuousRequests = DISABLE;
  hadc2.Init.EOCSelection = ADC_EOC_SINGLE_CONV;
  if (HAL_ADC_Init(&hadc2) != HAL_OK)
  {
    Error_Handler();
  }

  /** Configure for the selected ADC regular channel its corresponding rank in the sequencer and its sample time.
   */
  sConfig.Channel = ADC_CHANNEL_12;
  sConfig.Rank = 1;
  sConfig.SamplingTime = ADC_SAMPLETIME_56CYCLES;
  if (HAL_ADC_ConfigChannel(&hadc2, &sConfig) != HAL_OK)
  {
    Error_Handler();
  }

  /** Configures for the selected ADC injected channel its corresponding rank in the sequencer and its sample time
   */
  sConfigInjected.InjectedChannel = ADC_CHANNEL_9;
  sConfigInjected.InjectedRank = 1;
  sConfigInjected.InjectedNbrOfConversion = 1;
  sConfigInjected.InjectedSamplingTime = ADC_SAMPLETIME_56CYCLES;
  sConfigInjected.AutoInjectedConv = ENABLE;
  sConfigInjected.InjectedDiscontinuousConvMode = DISABLE;
  sConfigInjected.InjectedOffset = 0;
  if (HAL_ADCEx_InjectedConfigChannel(&hadc2, &sConfigInjected) != HAL_OK)
  {
    Error_Handler();
  }
}

static void MX_ADC3_Init(void)
{

  ADC_ChannelConfTypeDef sConfig = {0};

  /** Configure the global features of the ADC (Clock, Resolution, Data Alignment and number of conversion)
   */
  hadc3.Instance = ADC3;
  hadc3.Init.ClockPrescaler = ADC_CLOCK_SYNC_PCLK_DIV4;
  hadc3.Init.Resolution = ADC_RESOLUTION_12B;
  hadc3.Init.ScanConvMode = DISABLE;
  hadc3.Init.ContinuousConvMode = DISABLE;
  hadc3.Init.DiscontinuousConvMode = DISABLE;
  hadc3.Init.DataAlign = ADC_DATAALIGN_RIGHT;
  hadc3.Init.NbrOfConversion = 1;
  hadc3.Init.DMAContinuousRequests = DISABLE;
  hadc3.Init.EOCSelection = ADC_EOC_SINGLE_CONV;
  if (HAL_ADC_Init(&hadc3) != HAL_OK)
  {
    Error_Handler();
  }

  /** Configure for the selected ADC regular channel its corresponding rank in the sequencer and its sample time.
   */
  sConfig.Channel = ADC_CHANNEL_13;
  sConfig.Rank = 1;
  sConfig.SamplingTime = ADC_SAMPLETIME_56CYCLES;
  if (HAL_ADC_ConfigChannel(&hadc3, &sConfig) != HAL_OK)
  {
    Error_Handler();
  }
}

static void MX_CAN1_Init(void)
{

  hcan1.Instance = CAN1;
  hcan1.Init.Prescaler = 20;
  hcan1.Init.Mode = CAN_MODE_NORMAL;
  hcan1.Init.SyncJumpWidth = CAN_SJW_1TQ;
  hcan1.Init.TimeSeg1 = CAN_BS1_9TQ;
  hcan1.Init.TimeSeg2 = CAN_BS2_8TQ;
  hcan1.Init.TimeTriggeredMode = DISABLE;
  hcan1.Init.AutoBusOff = DISABLE;
  hcan1.Init.AutoWakeUp = DISABLE;
  hcan1.Init.AutoRetransmission = DISABLE;
  hcan1.Init.ReceiveFifoLocked = DISABLE;
  hcan1.Init.TransmitFifoPriority = DISABLE;
  if (HAL_CAN_Init(&hcan1) != HAL_OK)
  {
    Error_Handler();
  }
}

static void MX_I2C3_Init(void)
{

  hi2c3.Instance = I2C3;
  hi2c3.Init.ClockSpeed = 100000;
  hi2c3.Init.DutyCycle = I2C_DUTYCYCLE_2;
  hi2c3.Init.OwnAddress1 = 0;
  hi2c3.Init.AddressingMode = I2C_ADDRESSINGMODE_7BIT;
  hi2c3.Init.DualAddressMode = I2C_DUALADDRESS_DISABLE;
  hi2c3.Init.OwnAddress2 = 0;
  hi2c3.Init.GeneralCallMode = I2C_GENERALCALL_DISABLE;
  hi2c3.Init.NoStretchMode = I2C_NOSTRETCH_DISABLE;
  if (HAL_I2C_Init(&hi2c3) != HAL_OK)
  {
    Error_Handler();
  }
}

static void MX_SPI1_Init(void)
{

  /* SPI1 parameter configuration*/
  hspi1.Instance = SPI1;
  hspi1.Init.Mode = SPI_MODE_MASTER;
  hspi1.Init.Direction = SPI_DIRECTION_2LINES;
  hspi1.Init.DataSize = SPI_DATASIZE_8BIT;
  hspi1.Init.CLKPolarity = SPI_POLARITY_LOW;
  hspi1.Init.CLKPhase = SPI_PHASE_1EDGE;
  hspi1.Init.NSS = SPI_NSS_HARD_OUTPUT;
  hspi1.Init.BaudRatePrescaler = SPI_BAUDRATEPRESCALER_256;
  hspi1.Init.FirstBit = SPI_FIRSTBIT_MSB;
  hspi1.Init.TIMode = SPI_TIMODE_DISABLE;
  hspi1.Init.CRCCalculation = SPI_CRCCALCULATION_DISABLE;
  hspi1.Init.CRCPolynomial = 10;
  if (HAL_SPI_Init(&hspi1) != HAL_OK)
  {
    Error_Handler();
  }
}

static void MX_TIM2_Init(void)
{

  TIM_ClockConfigTypeDef sClockSourceConfig = {0};
  TIM_MasterConfigTypeDef sMasterConfig = {0};

  htim2.Instance = TIM2;
  htim2.Init.Prescaler = 7200 - 1;
  htim2.Init.CounterMode = TIM_COUNTERMODE_UP;
  htim2.Init.Period = 10000 - 1;
  htim2.Init.ClockDivision = TIM_CLOCKDIVISION_DIV1;
  htim2.Init.AutoReloadPreload = TIM_AUTORELOAD_PRELOAD_DISABLE;
  if (HAL_TIM_Base_Init(&htim2) != HAL_OK)
  {
    Error_Handler();
  }
  sClockSourceConfig.ClockSource = TIM_CLOCKSOURCE_INTERNAL;
  if (HAL_TIM_ConfigClockSource(&htim2, &sClockSourceConfig) != HAL_OK)
  {
    Error_Handler();
  }
  sMasterConfig.MasterOutputTrigger = TIM_TRGO_RESET;
  sMasterConfig.MasterSlaveMode = TIM_MASTERSLAVEMODE_DISABLE;
  if (HAL_TIMEx_MasterConfigSynchronization(&htim2, &sMasterConfig) != HAL_OK)
  {
    Error_Handler();
  }
}

static void MX_TIM3_Init(void)
{

  TIM_MasterConfigTypeDef sMasterConfig = {0};
  TIM_OC_InitTypeDef sConfigOC = {0};

  htim3.Instance = TIM3;
  htim3.Init.Prescaler = 4;
  htim3.Init.CounterMode = TIM_COUNTERMODE_UP;
  htim3.Init.Period = 1440;
  htim3.Init.ClockDivision = TIM_CLOCKDIVISION_DIV1;
  htim3.Init.AutoReloadPreload = TIM_AUTORELOAD_PRELOAD_DISABLE;
  if (HAL_TIM_PWM_Init(&htim3) != HAL_OK)
  {
    Error_Handler();
  }
  sMasterConfig.MasterOutputTrigger = TIM_TRGO_RESET;
  sMasterConfig.MasterSlaveMode = TIM_MASTERSLAVEMODE_DISABLE;
  if (HAL_TIMEx_MasterConfigSynchronization(&htim3, &sMasterConfig) != HAL_OK)
  {
    Error_Handler();
  }
  sConfigOC.OCMode = TIM_OCMODE_PWM1;
  sConfigOC.Pulse = 0;
  sConfigOC.OCPolarity = TIM_OCPOLARITY_HIGH;
  sConfigOC.OCFastMode = TIM_OCFAST_DISABLE;
  if (HAL_TIM_PWM_ConfigChannel(&htim3, &sConfigOC, TIM_CHANNEL_1) != HAL_OK)
  {
    Error_Handler();
  }
  HAL_TIM_MspPostInit(&htim3);
}

static void MX_TIM4_Init(void)
{

  TIM_MasterConfigTypeDef sMasterConfig = {0};
  TIM_OC_InitTypeDef sConfigOC = {0};

  htim4.Instance = TIM4;
  htim4.Init.Prescaler = 4;
  htim4.Init.CounterMode = TIM_COUNTERMODE_UP;
  htim4.Init.Period = 1440;
  htim4.Init.ClockDivision = TIM_CLOCKDIVISION_DIV1;
  htim4.Init.AutoReloadPreload = TIM_AUTORELOAD_PRELOAD_DISABLE;
  if (HAL_TIM_PWM_Init(&htim4) != HAL_OK)
  {
    Error_Handler();
  }
  sMasterConfig.MasterOutputTrigger = TIM_TRGO_RESET;
  sMasterConfig.MasterSlaveMode = TIM_MASTERSLAVEMODE_DISABLE;
  if (HAL_TIMEx_MasterConfigSynchronization(&htim4, &sMasterConfig) != HAL_OK)
  {
    Error_Handler();
  }
  sConfigOC.OCMode = TIM_OCMODE_PWM1;
  sConfigOC.Pulse = 0;
  sConfigOC.OCPolarity = TIM_OCPOLARITY_HIGH;
  sConfigOC.OCFastMode = TIM_OCFAST_DISABLE;
  if (HAL_TIM_PWM_ConfigChannel(&htim4, &sConfigOC, TIM_CHANNEL_1) != HAL_OK)
  {
    Error_Handler();
  }
  HAL_TIM_MspPostInit(&htim4);
}

static void MX_TIM5_Init(void)
{

  TIM_ClockConfigTypeDef sClockSourceConfig = {0};
  TIM_MasterConfigTypeDef sMasterConfig = {0};

  htim5.Instance = TIM5;
  htim5.Init.Prescaler = 7200 - 1;
  htim5.Init.CounterMode = TIM_COUNTERMODE_UP;
  htim5.Init.Period = 5000 - 1;
  htim5.Init.ClockDivision = TIM_CLOCKDIVISION_DIV1;
  htim5.Init.AutoReloadPreload = TIM_AUTORELOAD_PRELOAD_DISABLE;
  if (HAL_TIM_Base_Init(&htim5) != HAL_OK)
  {
    Error_Handler();
  }
  sClockSourceConfig.ClockSource = TIM_CLOCKSOURCE_INTERNAL;
  if (HAL_TIM_ConfigClockSource(&htim5, &sClockSourceConfig) != HAL_OK)
  {
    Error_Handler();
  }
  sMasterConfig.MasterOutputTrigger = TIM_TRGO_UPDATE;
  sMasterConfig.MasterSlaveMode = TIM_MASTERSLAVEMODE_DISABLE;
  if (HAL_TIMEx_MasterConfigSynchronization(&htim5, &sMasterConfig) != HAL_OK)
  {
    Error_Handler();
  }
}

static void MX_TIM8_Init(void)
{

  TIM_ClockConfigTypeDef sClockSourceConfig = {0};
  TIM_MasterConfigTypeDef sMasterConfig = {0};

  htim8.Instance = TIM8;
  htim8.Init.Prescaler = 72 - 1;
  htim8.Init.CounterMode = TIM_COUNTERMODE_UP;
  htim8.Init.Period = 100 - 1;
  htim8.Init.ClockDivision = TIM_CLOCKDIVISION_DIV1;
  htim8.Init.RepetitionCounter = 0;
  htim8.Init.AutoReloadPreload = TIM_AUTORELOAD_PRELOAD_DISABLE;
  if (HAL_TIM_Base_Init(&htim8) != HAL_OK)
  {
    Error_Handler();
  }
  sClockSourceConfig.ClockSource = TIM_CLOCKSOURCE_INTERNAL;
  if (HAL_TIM_ConfigClockSource(&htim8, &sClockSourceConfig) != HAL_OK)
  {
    Error_Handler();
  }
  sMasterConfig.MasterOutputTrigger = TIM_TRGO_UPDATE;
  sMasterConfig.MasterSlaveMode = TIM_MASTERSLAVEMODE_DISABLE;
  if (HAL_TIMEx_MasterConfigSynchronization(&htim8, &sMasterConfig) != HAL_OK)
  {
    Error_Handler();
  }
}

static void MX_TIM9_Init(void)
{

  TIM_ClockConfigTypeDef sClockSourceConfig = {0};

  htim9.Instance = TIM9;
  htim9.Init.Prescaler = 7200 - 1;
  htim9.Init.CounterMode = TIM_COUNTERMODE_UP;
  htim9.Init.Period = 1000 - 1;
  htim9.Init.ClockDivision = TIM_CLOCKDIVISION_DIV1;
  htim9.Init.AutoReloadPreload = TIM_AUTORELOAD_PRELOAD_DISABLE;
  if (HAL_TIM_Base_Init(&htim9) != HAL_OK)
  {
    Error_Handler();
  }
  sClockSourceConfig.ClockSource = TIM_CLOCKSOURCE_INTERNAL;
  if (HAL_TIM_ConfigClockSource(&htim9, &sClockSourceConfig) != HAL_OK)
  {
    Error_Handler();
  }
}

static void MX_TIM12_Init(void)
{

  TIM_ClockConfigTypeDef sClockSourceConfig = {0};

  htim12.Instance = TIM12;
  htim12.Init.Prescaler = 7200 - 1;
  htim12.Init.CounterMode = TIM_COUNTERMODE_UP;
  htim12.Init.Period = 4000 - 1;
  htim12.Init.ClockDivision = TIM_CLOCKDIVISION_DIV1;
  htim12.Init.AutoReloadPreload = TIM_AUTORELOAD_PRELOAD_DISABLE;
  if (HAL_TIM_Base_Init(&htim12) != HAL_OK)
  {
    Error_Handler();
  }
  sClockSourceConfig.ClockSource = TIM_CLOCKSOURCE_INTERNAL;
  if (HAL_TIM_ConfigClockSource(&htim12, &sClockSourceConfig) != HAL_OK)
  {
    Error_Handler();
  }
}

static void MX_UART4_Init(void)
{

  huart4.Instance = UART4;
  huart4.Init.BaudRate = 115200;
  huart4.Init.WordLength = UART_WORDLENGTH_8B;
  huart4.Init.StopBits = UART_STOPBITS_1;
  huart4.Init.Parity = UART_PARITY_NONE;
  huart4.Init.Mode = UART_MODE_TX_RX;
  huart4.Init.HwFlowCtl = UART_HWCONTROL_NONE;
  huart4.Init.OverSampling = UART_OVERSAMPLING_16;
  if (HAL_UART_Init(&huart4) != HAL_OK)
  {
    Error_Handler();
  }
}

static void MX_DMA_Init(void)
{

  /* DMA controller clock enable */
  __HAL_RCC_DMA2_CLK_ENABLE();

  /* DMA interrupt init */
  /* DMA2_Stream0_IRQn interrupt configuration */
  HAL_NVIC_SetPriority(DMA2_Stream0_IRQn, 0, 0);
  HAL_NVIC_EnableIRQ(DMA2_Stream0_IRQn);
}

static void MX_GPIO_Init(void)
{
  GPIO_InitTypeDef GPIO_InitStruct = {0};

  /* GPIO Ports Clock Enable */
  __HAL_RCC_GPIOC_CLK_ENABLE();
  __HAL_RCC_GPIOA_CLK_ENABLE();
  __HAL_RCC_GPIOB_CLK_ENABLE();

  /*Configure GPIO pin Output Level */
  HAL_GPIO_WritePin(GPIOC, ACCEL_POWER_Pin | LD1_Pin | LD2_Pin, GPIO_PIN_RESET);

  /*Configure GPIO pin Output Level */
  HAL_GPIO_WritePin(BUCK_GPIO_Port, BUCK_Pin, GPIO_PIN_RESET);

  /*Configure GPIO pins : ACCEL_POWER_Pin LD1_Pin LD2_Pin */
  GPIO_InitStruct.Pin = ACCEL_POWER_Pin | LD1_Pin | LD2_Pin;
  GPIO_InitStruct.Mode = GPIO_MODE_OUTPUT_PP;
  GPIO_InitStruct.Pull = GPIO_NOPULL;
  GPIO_InitStruct.Speed = GPIO_SPEED_FREQ_LOW;
  HAL_GPIO_Init(GPIOC, &GPIO_InitStruct);

  /*Configure GPIO pin : COOLER_SHORT_Pin */
  GPIO_InitStruct.Pin = COOLER_SHORT_Pin;
  GPIO_InitStruct.Mode = GPIO_MODE_INPUT;
  GPIO_InitStruct.Pull = GPIO_NOPULL;
  HAL_GPIO_Init(COOLER_SHORT_GPIO_Port, &GPIO_InitStruct);

  /*Configure GPIO pins : SD_DETECT_Pin BUTTON_Pin */
  GPIO_InitStruct.Pin = SD_DETECT_Pin | BUTTON_Pin;
  GPIO_InitStruct.Mode = GPIO_MODE_INPUT;
  GPIO_InitStruct.Pull = GPIO_NOPULL;
  HAL_GPIO_Init(GPIOC, &GPIO_InitStruct);

  /*Configure GPIO pin : BUCK_Pin */
  GPIO_InitStruct.Pin = BUCK_Pin;
  GPIO_InitStruct.Mode = GPIO_MODE_OUTPUT_PP;
  GPIO_InitStruct.Pull = GPIO_NOPULL;
  GPIO_InitStruct.Speed = GPIO_SPEED_FREQ_LOW;
  HAL_GPIO_Init(BUCK_GPIO_Port, &GPIO_InitStruct);

}

/* USER CODE BEGIN 4 */
void HAL_CAN_RxFifo0MsgPendingCallback(CAN_HandleTypeDef *hcan1)
{
  if (!PL_CANBus_Receive(&can))
  {
    Minor_Error(LOG_CAN_BUS, "Failed to receive message.");
  }
}

void HAL_TIM_PeriodElapsedCallback(TIM_HandleTypeDef *htim)
{
  if (htim->Instance == TIM_ADC_SAMPLE.Instance)
  {
    PL_ADC_InjectedConversion(&adc);
    adc_new_sample_ready = true;
  }
  else if (htim->Instance == TIM_BLINK.Instance)
  {
    blink_toggle_ready = true;
  }
  else if (htim->Instance == TIM_TEMPERATURE_SAMPLE.Instance)
  {
    BME280_sample_ready = true;
  }
  else if (htim->Instance == TIM_TELEMETRY.Instance)
  {
    telemetry_report_ready = true;
  }
}

void HAL_ADC_ConvHalfCpltCallback(ADC_HandleTypeDef *hadc)
{
  if (hadc == &hadc1)
  {
    accelerometer_sample_time = HAL_GetTick();
    PL_Accelerometer_Record(&accelerometer, accelerometer_buffer);
  }
}

void HAL_ADC_ConvCpltCallback(ADC_HandleTypeDef *hadc)
{
  if (hadc == &hadc1)
  {
    accelerometer_sample_time = HAL_GetTick();
    PL_Accelerometer_Record(&accelerometer, &accelerometer_buffer[FFT_SIZE_TRIPLE]);
  }
}

void Critical_Error(enum log_category category, const char *msg)
{
  ok = 0;
  // Turn on LD2 to indicate critical error
  HAL_GPIO_WritePin(LD2_GPIO_Port, LD2_Pin, GPIO_PIN_SET);
  PL_Log(category, LOG_NONE, LOG_ERROR, msg);
#if !FINAL_BUILD
  Error_Handler();
#endif
}

void Minor_Error(enum log_category category, const char *msg)
{
  if (ok)
  {
    minor_errors++;
    /*
     * Color number of minor errors depending on how many occurred.
     * < 1/3 of max -> COLOR_OK
     * < 2/3 of max -> COLOR_WARNING
     * < 3/3 of max -> COLOR_ERROR
     */
    char *err_num_color;
    if (minor_errors < MINOR_ERRORS_MAX / 3)
    {
      err_num_color = COLOR_OK;
    }
    else if (minor_errors >= MINOR_ERRORS_MAX / 3 && minor_errors < 2 * MINOR_ERRORS_MAX / 3)
    {
      err_num_color = COLOR_WARNING;
    }
    else
    {
      err_num_color = COLOR_ERROR;
    }
    PL_Log(category, LOG_NONE, LOG_WARNING,
           "%s[%sME:%s%3d%s%s]%s %s",
           COLOR_WHITE,
           COLOR_RESET,
           err_num_color,
           minor_errors,
           COLOR_RESET,
           COLOR_WHITE,
           COLOR_RESET,
           msg);
    if (minor_errors >= MINOR_ERRORS_MAX)
    {
      Critical_Error(LOG_GENERAL, "Minor error excess.");
    }
    else
    {
      minor_error_last_time = HAL_GetTick();
      HAL_GPIO_WritePin(LD2_GPIO_Port, LD2_Pin, GPIO_PIN_SET);
      minor_error_blink_toggle_ready = true; // Set flag to toggle LD2 off after `MINOR_ERROR_BLINK_TIME`
    }
  }
}
/* USER CODE END 4 */

void Error_Handler(void)
{
  __disable_irq();
  while (1)
  {
  }
}
